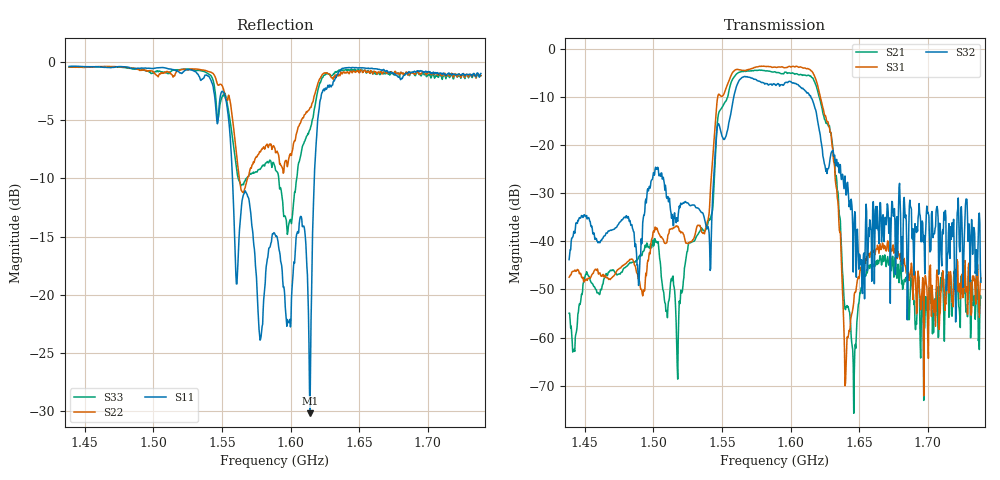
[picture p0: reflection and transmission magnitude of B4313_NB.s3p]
! Matrix data file written by TouchstoneData, EPCOS AG
! FILENAME: "LZ39A_pcb5_NB.s3p_newformat"
! COMMENT: "(LZ39A_pcb5_NB.s3p) Epcos AG 6/8/2011 5:13:5"
! INFO: nport=3, nfreq=801
! DATE: "Mon Jul  4 19:48:54 2011"
! USER: "Michael Schemies"
! port | pin | signal
!  1  |  1  |  in
!  2  |  3  |  out
!  3  |  4  |  out
# MHZ S MA R 50
! freq  magS11 angS11  magS12 angS12  magS13 angS13  ...
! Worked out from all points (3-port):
!   801 points, 1.439 GHz to 1.739 GHz, reference 50 ohm
!   strongest paths, dB at 1.439 GHz, 1.514 GHz, 1.589 GHz, 1.664 GHz, 1.739 GHz:
!     S32: -43.8, -34.4, -7.4, -37.6, -48.5
!     S31: -47.4, -37.4, -3.8, -41.0, -47.6
!     S21: -54.9, -48.2, -4.8, -44.1, -51.8
!   lowest |S11| = -30.2 dB at 1.614 GHz (marker M1), VSWR 1.06, Z = 47.1 - j0.83 ohm
!   |S11| at or under -10 dB: 1.558 GHz to 1.617 GHz (59.64 MHz wide, 3.76 % of centre)
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1438.655  0.9588 -96.2  0.001862 126.2  0.004308 174.0
          0.001791 125.2  0.9535 -91.1  0.006276 -142.9
          0.004243 174.5  0.006447 -143.0  0.9552 -93.7
1517.78  0.9174 -123.0  0.000368 138.8  0.01456 138.6
         0.0003714 139.1  0.9197 -112.4  0.01565 -159.1
         0.01434 138.5  0.0161 -158.9  0.9282 -119.4
1541.03  0.8584 -151.8  0.01741 146.7  0.02367 98.9
         0.01663 146.6  0.9101 -143.3  0.008875 144.6
         0.02328 98.9  0.009113 144.6  0.884 -157.0
1548.53  0.6972 -151.5  0.2274 125.5  0.3286 -55.7
         0.2275 125.5  0.8037 -163.1  0.1499 147.5
         0.3281 -55.7  0.1498 147.4  0.6552 -168.1
1588.655  0.1819 -118.9  0.5736 175.4  0.6438 3.2
          0.5733 175.5  0.4247 -137.2  0.4269 -156.5
          0.6425 3.2  0.4261 -156.6  0.3549 -112.6
1614.155  0.03094 -163.5  0.5169 20.3  0.6049 -156.2
          0.5168 20.3  0.6376 14.4  0.3266 23.9
          0.6039 -156.2  0.3263 23.8  0.5126 14.9
1630.655  0.7981 -3.1  0.09717 -142.2  0.08994 31.9
          0.09705 -142.2  0.8539 -27.7  0.08783 -36.5
          0.08992 31.8  0.08792 -36.5  0.8793 -26.0
1640.405  0.9454 -26.9  0.002185 -121.4  0.000513 132.0
          0.002098 -121.0  0.9058 -38.0  0.03014 -99.4
          0.0004965 130.2  0.03012 -99.3  0.9317 -39.9
1664.03  0.9309 -53.2  0.006128 34.5  0.008237 -153.6
         0.005855 34.5  0.9086 -54.2  0.01275 -124.9
         0.008115 -153.7  0.01314 -124.8  0.9043 -57.0
1738.655  0.8945 -72.5  0.002675 44.7  0.004247 -150.8
          0.002582 44.1  0.8756 -70.1  0.003674 15.6
          0.004148 -151.4  0.003761 15.6  0.8768 -71.7
